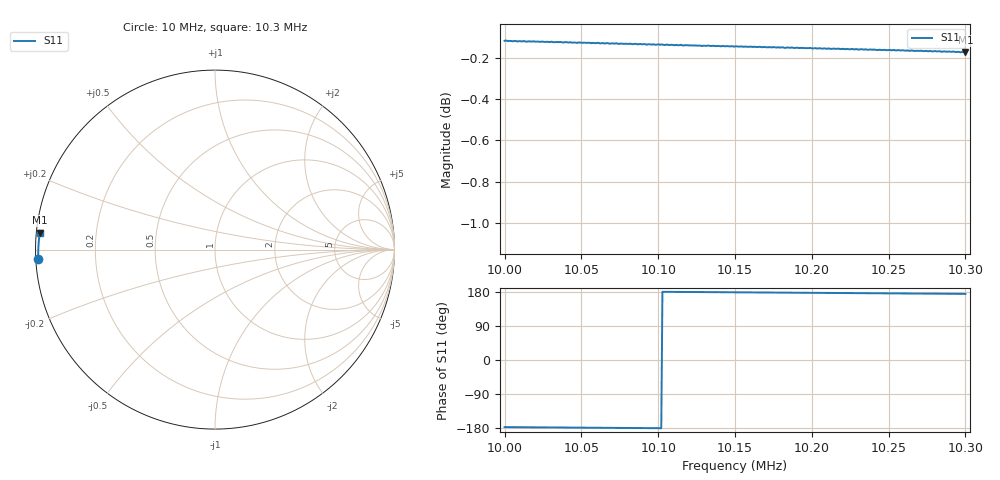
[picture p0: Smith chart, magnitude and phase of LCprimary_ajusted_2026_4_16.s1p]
# HZ S RI R 50
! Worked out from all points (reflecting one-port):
!   401 points, 10 MHz to 10.3 MHz, reference 50 ohm
!   lowest |S11| = -0.2 dB at 10.3 MHz (marker M1), VSWR 100.89, Z = 0.497 + j2.43 ohm
!   phase of S11 starts at -177 deg and turns -8 deg over the sweep
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1e7  -0.9854 -0.0504
1.000075e7  -0.9857 -0.0498
1.0003e7  -0.9855 -0.0489
1.002025e7  -0.9854 -0.0404
1.00375e7  -0.9854 -0.0321
1.004125e7  -0.9853 -0.0301
1.004575e7  -0.9854 -0.0278
1.005325e7  -0.9853 -0.0241
1.007125e7  -0.9851 -0.0153
1.0075e7  -0.985 -0.0133
1.00885e7  -0.985 -0.00686
1.009e7  -0.9848 -0.006
1.0108e7  -0.9845 0.00276
1.01125e7  -0.9843 0.0048
1.012975e7  -0.984 0.0134
1.013425e7  -0.9837 0.0155
1.015e7  -0.9834 0.0233
1.0174e7  -0.9825 0.0349
1.01875e7  -0.9821 0.0413
1.0204e7  -0.9813 0.0493
1.0225e7  -0.9803 0.0594
1.0252e7  -0.9789 0.0723
1.0255e7  -0.9787 0.0737
1.02625e7  -0.9784 0.0772
1.0282e7  -0.9771 0.0865
1.029325e7  -0.9763 0.0918
1.02985e7  -0.976 0.0943
1.03e7  -0.9758 0.095
